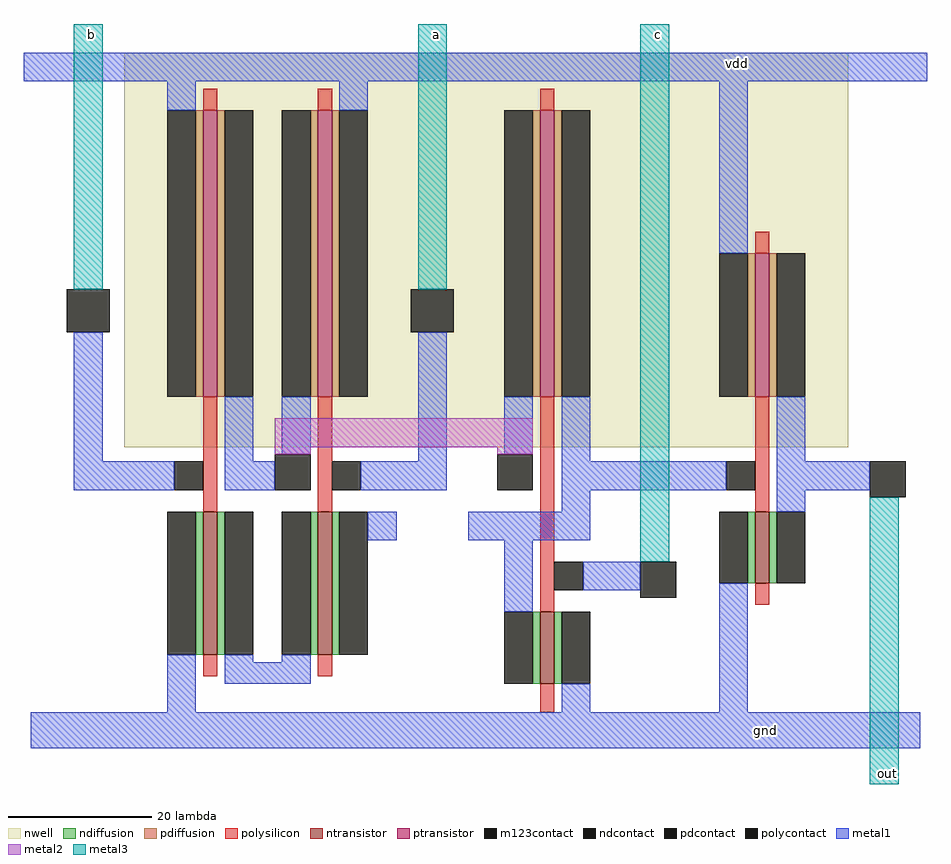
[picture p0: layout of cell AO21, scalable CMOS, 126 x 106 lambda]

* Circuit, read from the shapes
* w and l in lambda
.subckt AO21 a b c gnd out vdd
M1 n1 b gnd VSUBS nfet w=20 l=2
M2 n2 a n1 VSUBS nfet w=20 l=2
M3 gnd c n3 VSUBS nfet w=10 l=2
M4 out n3 gnd VSUBS nfet w=10 l=2
M5 n4 b vdd n5 pfet w=40 l=2
M6 vdd a n4 n5 pfet w=40 l=2
M7 n3 c n4 n5 pfet w=40 l=2
M8 out n3 vdd n5 pfet w=20 l=2
.ends

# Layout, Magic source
magic
tech scmos
<< nwell >>
rect -67 0 34 55
<< ntransistor >>
rect -56 -29 -54 -9
rect -40 -29 -38 -9
rect 21 -19 23 -9
rect -9 -33 -7 -23
<< ptransistor >>
rect -56 7 -54 47
rect -40 7 -38 47
rect -9 7 -7 47
rect 21 7 23 27
<< ndiffusion >>
rect -57 -29 -56 -9
rect -54 -29 -53 -9
rect -41 -29 -40 -9
rect -38 -29 -37 -9
rect 20 -19 21 -9
rect 23 -19 24 -9
rect -10 -33 -9 -23
rect -7 -33 -6 -23
<< pdiffusion >>
rect -57 7 -56 47
rect -54 7 -53 47
rect -41 7 -40 47
rect -38 7 -37 47
rect -10 7 -9 47
rect -7 7 -6 47
rect 20 7 21 27
rect 23 7 24 27
<< ndcontact >>
rect -61 -29 -57 -9
rect -53 -29 -49 -9
rect -45 -29 -41 -9
rect -37 -29 -33 -9
rect 16 -19 20 -9
rect 24 -19 28 -9
rect -14 -33 -10 -23
rect -6 -33 -2 -23
<< pdcontact >>
rect -61 7 -57 47
rect -53 7 -49 47
rect -45 7 -41 47
rect -37 7 -33 47
rect -14 7 -10 47
rect -6 7 -2 47
rect 16 7 20 27
rect 24 7 28 27
<< polysilicon >>
rect -56 47 -54 50
rect -40 47 -38 50
rect -9 47 -7 50
rect 21 27 23 30
rect -56 -9 -54 7
rect -40 -9 -38 7
rect -9 -23 -7 7
rect 21 -9 23 7
rect 21 -22 23 -19
rect -56 -32 -54 -29
rect -40 -32 -38 -29
rect -9 -37 -7 -33
<< polycontact >>
rect -60 -6 -56 -2
rect -38 -6 -34 -2
rect 17 -6 21 -2
rect -7 -20 -3 -16
<< metal1 >>
rect -81 51 45 55
rect -61 47 -57 51
rect -37 47 -33 51
rect -74 -2 -70 16
rect -53 -2 -49 7
rect -45 -1 -41 7
rect -74 -6 -60 -2
rect -53 -6 -46 -2
rect -26 -2 -22 16
rect -14 -1 -10 7
rect -34 -6 -22 -2
rect 16 27 20 51
rect -6 -2 -2 7
rect 24 -2 28 7
rect -6 -6 17 -2
rect 24 -6 37 -2
rect -6 -9 -2 -6
rect 24 -9 28 -6
rect -61 -37 -57 -29
rect -53 -30 -49 -29
rect -33 -13 -29 -9
rect -19 -13 -2 -9
rect -14 -23 -10 -13
rect -3 -20 5 -16
rect -45 -30 -41 -29
rect -53 -33 -41 -30
rect -6 -37 -2 -33
rect 16 -37 20 -19
rect -80 -42 44 -37
<< metal2 >>
rect -46 0 -10 4
rect -46 -1 -41 0
rect -15 -1 -10 0
<< m123contact >>
rect -75 16 -69 22
rect -27 16 -21 22
rect -46 -6 -41 -1
rect -15 -6 -10 -1
rect 37 -7 42 -2
rect 5 -21 10 -16
<< metal3 >>
rect -74 22 -70 59
rect -26 22 -22 59
rect 5 -16 9 59
rect 37 -47 41 -7
<< labels >>
rlabel metal3 -72 57 -71 58 4 b
rlabel metal3 -24 57 -23 58 5 a
rlabel metal1 18 53 19 54 1 vdd
rlabel metal1 22 -40 23 -39 1 gnd
rlabel metal3 7 57 8 58 5 c
rlabel metal3 39 -46 40 -45 8 out
<< end >>
